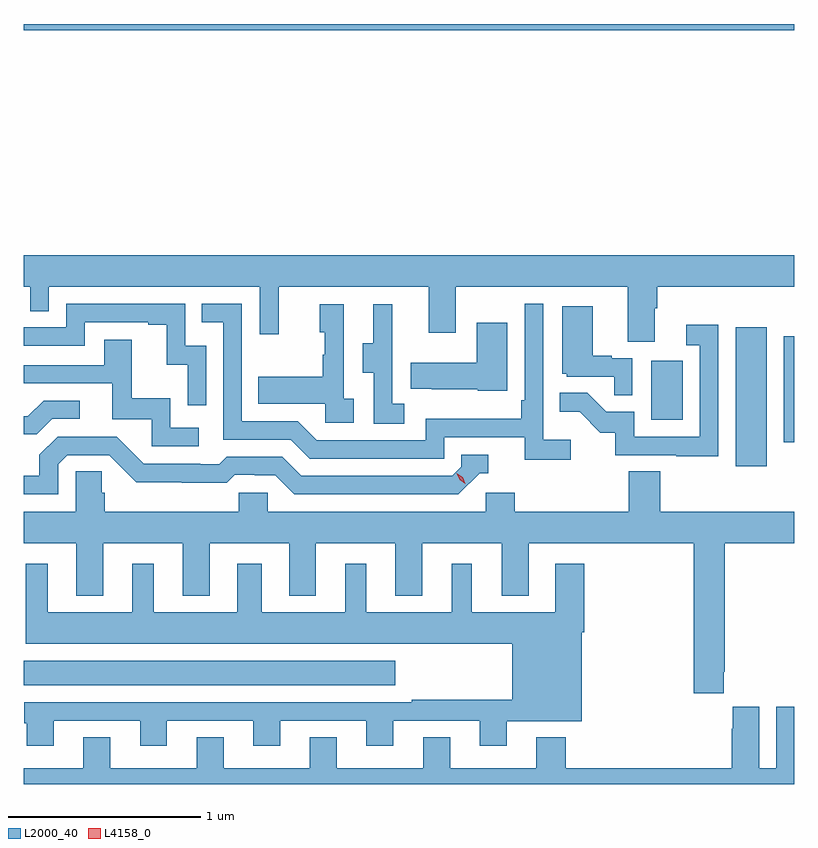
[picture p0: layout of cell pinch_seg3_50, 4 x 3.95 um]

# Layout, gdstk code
import gdstk
lib = gdstk.Library(unit=1e-6, precision=1e-09)
def R(c, l, rs):  # rectangles x0, y0, x1, y1
    for r in rs: c.add(gdstk.rectangle(r[:2], r[2:], *l))
def P(c, l, *ps):  # polygons
    for p in ps: c.add(gdstk.Polygon(p, *l))
L2000_40 = (2000, 40)
L4158_0 = (4158, 0)

pinch_seg3_50 = lib.new_cell('pinch_seg3_50')
R(pinch_seg3_50, L2000_40, [(1055.654,745.466,1057.582,745.594), (1059.35,746.604,1059.511,747.325), (1059.6,746.727,1059.654,747.278), (1058.912,746.844,1059.076,747.151), (1055.654,748.868,1059.654,748.9)])
P(pinch_seg3_50, L2000_40, [(1058.929,747.424),(1058.942,747.424),(1058.942,747.536),(1059.654,747.536),(1059.654,747.7),(1055.654,747.7),(1055.654,747.536),(1055.688,747.536),(1055.688,747.409),(1055.784,747.409),(1055.784,747.536),(1056.879,747.536),(1056.879,747.288),(1056.977,747.288),(1056.977,747.536),(1057.757,747.536),(1057.757,747.297),(1057.897,747.297),(1057.897,747.536),(1058.789,747.536),(1058.789,747.25),(1058.929,747.25)],
  [(1058.494,746.74),(1058.352,746.74),(1058.352,747.448),(1058.256,747.448),(1058.256,746.947),(1058.236,746.947),(1058.236,746.851),(1057.74,746.851),(1057.74,746.739),(1057.176,746.739),(1057.077,746.838),(1056.786,746.838),(1056.786,747.447),(1056.577,747.447),(1056.577,747.351),(1056.69,747.351),(1056.69,746.742),(1057.04,746.742),(1057.139,746.643),(1057.836,746.643),(1057.836,746.754),(1058.255,746.754),(1058.255,746.638),(1058.494,746.638)],
  [(1056.6,747.228),(1056.492,747.228),(1056.492,747.447),(1055.874,747.447),(1055.874,747.324),(1055.654,747.324),(1055.654,747.228),(1055.97,747.228),(1055.97,747.351),(1056.299,747.351),(1056.299,747.339),(1056.395,747.339),(1056.395,747.131),(1056.504,747.131),(1056.504,746.919),(1056.6,746.919)],
  [(1057.366,746.954),(1057.314,746.954),(1057.314,747.445),(1057.19,747.445),(1057.19,747.3),(1057.216,747.3),(1057.216,747.182),(1057.206,747.182),(1057.206,747.067),(1056.871,747.067),(1056.871,746.927),(1057.218,746.927),(1057.218,746.829),(1057.366,746.829)],
  [(1057.63,746.927),(1057.566,746.927),(1057.566,747.231),(1057.568,747.231),(1057.568,747.445),(1057.469,747.445),(1057.469,747.243),(1057.415,747.243),(1057.415,747.088),(1057.47,747.088),(1057.47,746.824),(1057.63,746.824)],
  [(1058.814,747.165),(1058.708,747.165),(1058.708,747.178),(1058.608,747.178),(1058.608,747.433),(1058.45,747.433),(1058.45,747.084),(1058.472,747.084),(1058.472,747.069),(1058.719,747.069),(1058.719,746.971),(1058.814,746.971)],
  [(1058.164,747.349),(1058.006,747.349),(1058.006,747.142),(1057.663,747.142),(1057.663,747.005),(1057.771,747.005),(1057.771,747.002),(1058.01,747.002),(1058.01,746.996),(1058.164,746.996)],
  [(1059.261,747.337),(1059.093,747.337),(1059.093,747.231),(1059.165,747.231),(1059.165,746.757),(1058.823,746.757),(1058.823,746.886),(1058.679,746.886),(1058.581,746.984),(1058.437,746.984),(1058.437,746.885),(1058.541,746.885),(1058.648,746.778),(1058.725,746.778),(1058.725,746.661),(1059.043,746.661),(1059.043,746.656),(1059.261,746.656)],
  [(1056.562,746.802),(1056.414,746.802),(1056.414,746.956),(1056.215,746.956),(1056.215,747.259),(1056.071,747.259),(1056.071,747.129),(1055.654,747.129),(1055.654,747.033),(1056.113,747.033),(1056.113,746.847),(1056.318,746.847),(1056.318,746.706),(1056.562,746.706)],
  [(1055.802,746.85),(1055.944,746.85),(1055.944,746.943),(1055.756,746.943),(1055.675,746.862),(1055.654,746.862),(1055.654,746.77),(1055.722,746.77)],
  [(1055.832,746.613),(1055.88,746.661),(1056.096,746.661),(1056.238,746.519),(1056.474,746.519),(1056.474,746.517),(1056.707,746.517),(1056.749,746.559),(1056.852,746.559),(1056.852,746.556),(1056.959,746.556),(1057.058,746.457),(1057.911,746.457),(1058.022,746.568),(1058.065,746.568),(1058.065,746.664),(1057.926,746.664),(1057.926,746.601),(1057.878,746.553),(1057.095,746.553),(1056.996,746.652),(1056.707,746.652),(1056.668,746.613),(1056.569,746.613),(1056.569,746.616),(1056.276,746.616),(1056.135,746.757),(1055.829,746.757),(1055.735,746.663),(1055.735,746.553),(1055.654,746.553),(1055.654,746.457),(1055.832,746.457)],
  [(1059.289,745.537),(1059.294,745.537),(1059.294,746.204),(1059.654,746.204),(1059.654,746.368),(1058.96,746.368),(1058.96,746.576),(1058.795,746.576),(1058.795,746.368),(1058.204,746.368),(1058.204,746.466),(1058.052,746.466),(1058.052,746.368),(1056.921,746.368),(1056.921,746.466),(1056.771,746.466),(1056.771,746.368),(1056.074,746.368),(1056.074,746.466),(1056.059,746.466),(1056.059,746.576),(1055.922,746.576),(1055.922,746.368),(1055.654,746.368),(1055.654,746.204),(1055.927,746.204),(1055.927,745.931),(1056.067,745.931),(1056.067,746.204),(1056.479,746.204),(1056.479,745.931),(1056.619,745.931),(1056.619,746.204),(1057.031,746.204),(1057.031,745.931),(1057.171,745.931),(1057.171,746.204),(1057.583,746.204),(1057.583,745.931),(1057.723,745.931),(1057.723,746.204),(1058.135,746.204),(1058.135,745.931),(1058.275,745.931),(1058.275,746.204),(1059.134,746.204),(1059.134,745.425),(1059.289,745.425)],
  [(1055.809,745.281),(1056.257,745.281),(1056.257,745.152),(1056.397,745.152),(1056.397,745.281),(1056.845,745.281),(1056.845,745.152),(1056.985,745.152),(1056.985,745.281),(1057.433,745.281),(1057.433,745.152),(1057.573,745.152),(1057.573,745.281),(1058.021,745.281),(1058.021,745.152),(1058.161,745.152),(1058.161,745.28),(1058.551,745.28),(1058.551,745.742),(1058.564,745.742),(1058.564,746.098),(1058.414,746.098),(1058.414,745.846),(1057.981,745.846),(1057.981,746.098),(1057.877,746.098),(1057.877,745.846),(1057.432,745.846),(1057.432,746.098),(1057.322,746.098),(1057.322,745.846),(1056.889,745.846),(1056.889,746.098),(1056.761,746.098),(1056.761,745.846),(1056.328,745.846),(1056.328,746.098),(1056.218,746.098),(1056.218,745.846),(1055.779,745.846),(1055.779,746.098),(1055.663,746.098),(1055.663,745.682),(1058.189,745.682),(1058.189,745.39),(1057.669,745.39),(1057.669,745.377),(1055.657,745.377),(1055.657,745.269),(1055.669,745.269),(1055.669,745.152),(1055.809,745.152)],
  [(1059.654,745.354),(1059.56,745.354),(1059.56,745.036),(1059.472,745.036),(1059.472,745.354),(1059.335,745.354),(1059.335,745.241),(1059.329,745.241),(1059.329,745.036),(1058.468,745.036),(1058.468,745.195),(1058.315,745.195),(1058.315,745.036),(1057.867,745.036),(1057.867,745.196),(1057.727,745.196),(1057.727,745.036),(1057.279,745.036),(1057.279,745.196),(1057.139,745.196),(1057.139,745.036),(1056.691,745.036),(1056.691,745.196),(1056.551,745.196),(1056.551,745.036),(1056.103,745.036),(1056.103,745.196),(1055.963,745.196),(1055.963,745.036),(1055.654,745.036),(1055.654,744.953),(1059.654,744.953)])
P(pinch_seg3_50, L4158_0, [(1057.947,746.513),(1057.917,746.533),(1057.901,746.566),(1057.901,746.566),(1057.901,746.566),(1057.932,746.546),(1057.947,746.513),(1057.947,746.513)])

lib.write_gds('pinch_seg3_50.gds')
